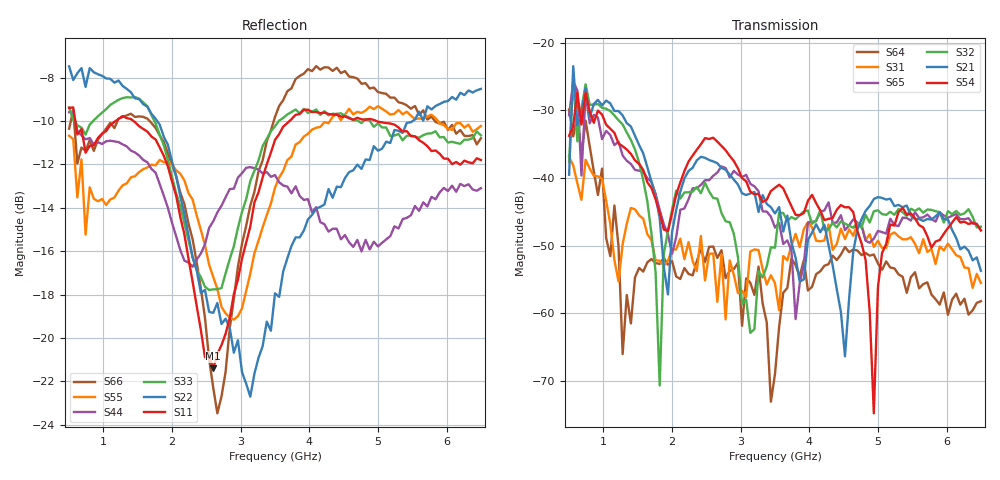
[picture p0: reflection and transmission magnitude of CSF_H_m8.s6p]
!Keysight Technologies,M9804A,MY58100912,A.14.10.03
!Date: Thursday, April 27, 2023 10:28:33
!Correction: S11(C  6-Port  )
!S12(C  6-Port  )
!S13(C  6-Port  )
!S14(C  6-Port  )
!S15(C  6-Port  )
!S16(C  6-Port  )
!S21(C  6-Port  )
!S22(C  6-Port  )
!S23(C  6-Port  )
!S24(C  6-Port  )
!S25(C  6-Port  )
!S26(C  6-Port  )
!S31(C  6-Port  )
!S32(C  6-Port  )
!S33(C  6-Port  )
!S34(C  6-Port  )
!S35(C  6-Port  )
!S36(C  6-Port  )
!S41(C  6-Port  )
!S42(C  6-Port  )
!S43(C  6-Port  )
!S44(C  6-Port  )
!S45(C  6-Port  )
!S46(C  6-Port  )
!S51(C  6-Port  )
!S52(C  6-Port  )
!S53(C  6-Port  )
!S54(C  6-Port  )
!S55(C  6-Port  )
!S56(C  6-Port  )
!S61(C  6-Port  )
!S62(C  6-Port  )
!S63(C  6-Port  )
!S64(C  6-Port  )
!S65(C  6-Port  )
!S66(C  6-Port  )
!S6P File: Measurement: :
# Hz S  RI  R 50
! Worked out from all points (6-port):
!   101 points, 500 MHz to 6.5 GHz, reference 50 ohm
!   strongest paths, dB at 500 MHz, 2 GHz, 3.5 GHz, 5 GHz, 6.5 GHz:
!     S54: -33.7, -45.2, -41.4, -56.1, -47.7
!     S21: -39.5, -48.0, -45.2, -42.8, -53.7
!     S32: -37.6, -44.7, -50.3, -44.8, -47.2
!     S65: -30.7, -51.2, -47.3, -47.8, -47.7
!     S31: -36.9, -50.6, -55.5, -49.3, -55.5
!     S64: -29.8, -52.3, -69.0, -52.6, -58.2
!   lowest |S11| = -21.4 dB at 2.6 GHz (marker M1), VSWR 1.19, Z = 42.4 + j2.15 ohm
!   |S11| at or under -10 dB: 590.2 MHz to 1.176 GHz (585.4 MHz wide, 66.3 % of centre); 1.439 GHz to 3.711 GHz (2.272 GHz wide, 88.2 % of centre); 4.979 GHz to end of sweep
